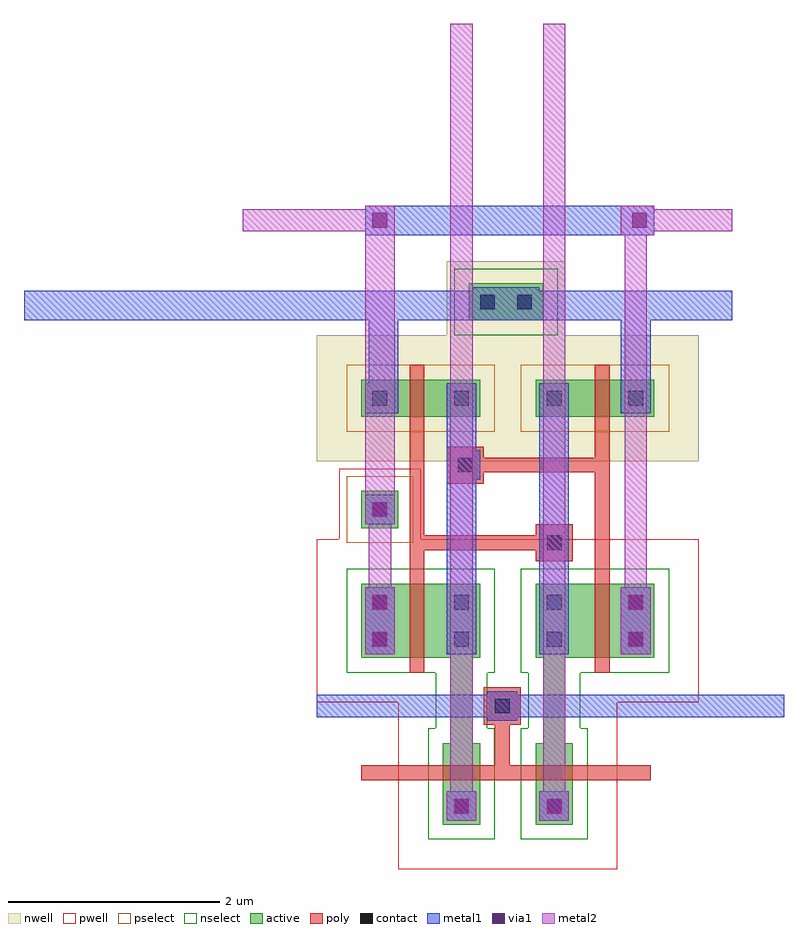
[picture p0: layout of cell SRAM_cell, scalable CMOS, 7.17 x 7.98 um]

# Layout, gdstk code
import gdstk
lib = gdstk.Library(unit=1e-6, precision=1e-09)
def R(c, l, rs):  # rectangles x0, y0, x1, y1
    for r in rs: c.add(gdstk.rectangle(r[:2], r[2:], *l))
contact = (25, 0)
pwell = (41, 0)
nwell = (42, 0)
active = (43, 0)
pselect = (44, 0)
nselect = (45, 0)
poly = (46, 0)
metal1 = (49, 0)
via1 = (50, 0)
metal2 = (51, 0)

sram_cell = lib.new_cell('SRAM_cell')
R(sram_cell, contact, [(10.465,-2.205,10.605,-2.065), (11.34,-2.205,11.48,-2.065), (10.85,-1.26,10.99,-1.12), (9.695,-0.63,9.835,-0.49), (10.465,-0.63,10.605,-0.49), (11.34,-0.63,11.48,-0.49), (12.11,-0.63,12.25,-0.49), (9.695,-0.28,9.835,-0.14), (10.465,-0.28,10.605,-0.14), (11.34,-0.28,11.48,-0.14), (12.11,-0.28,12.25,-0.14), (11.34,0.28,11.48,0.42), (9.695,0.595,9.835,0.735), (10.5,1.015,10.64,1.155), (9.695,1.645,9.835,1.785), (10.465,1.645,10.605,1.785), (11.34,1.645,11.48,1.785), (12.11,1.645,12.25,1.785), (10.71,2.555,10.85,2.695), (11.06,2.555,11.2,2.695)])
R(sram_cell, pwell, [(9.94,-2.73,11.13,-1.54), (10.815,-2.73,12.005,-1.54), (9.975,-2.66,11.025,-1.557), (10.885,-2.66,11.935,-1.557), (9.94,-2.52,11.13,-1.12), (10.815,-2.52,12.005,-1.12), (10.01,-2.082,11.06,0.14), (10.885,-2.082,11.935,0.14), (9.17,-1.155,10.36,0.385), (9.415,-1.155,10.815,0.385), (9.94,-1.155,11.13,0.385), (10.815,-1.155,12.005,0.385), (11.165,-1.155,12.565,0.385), (11.585,-1.155,12.775,0.385), (9.24,-0.91,10.378,0.14), (9.853,-0.91,11.025,0.14), (10.885,-0.91,12.128,0.14), (11.603,-0.91,12.705,0.14), (9.38,0.28,10.15,1.05)])
R(sram_cell, nwell, [(9.17,1.12,10.36,2.31), (9.415,1.12,10.815,2.31), (9.94,1.12,11.13,2.31), (10.815,1.12,12.005,2.31), (11.165,1.12,12.565,2.31), (11.585,1.12,12.775,2.31), (9.24,1.19,10.378,2.24), (10.885,1.19,12.128,2.24), (11.603,1.19,12.74,2.24), (9.853,1.225,11.025,2.275), (10.395,2.24,11.515,3.01)])
R(sram_cell, active, [(10.36,-2.31,10.71,-1.96), (11.235,-2.31,11.585,-1.96), (10.395,-2.24,10.605,-1.977), (11.305,-2.24,11.515,-1.977), (10.36,-2.1,10.71,-1.54), (11.235,-2.1,11.585,-1.54), (10.43,-1.662,10.64,-0.28), (11.305,-1.662,11.515,-0.28), (9.59,-0.735,9.94,-0.035), (9.835,-0.735,10.395,-0.035), (10.36,-0.735,10.71,-0.035), (11.235,-0.735,11.585,-0.035), (11.585,-0.735,12.145,-0.035), (12.005,-0.735,12.355,-0.035), (9.66,-0.49,9.958,-0.28), (10.273,-0.49,10.605,-0.28), (11.305,-0.49,11.708,-0.28), (12.023,-0.49,12.285,-0.28), (9.59,0.49,9.94,0.84), (9.59,1.54,9.94,1.89), (9.835,1.54,10.395,1.89), (10.36,1.54,10.71,1.89), (11.235,1.54,11.585,1.89), (11.585,1.54,12.145,1.89), (12.005,1.54,12.355,1.89), (9.66,1.61,9.958,1.82), (11.305,1.61,11.708,1.82), (12.023,1.61,12.32,1.82), (10.273,1.645,10.605,1.855), (10.605,2.45,11.305,2.8)])
R(sram_cell, pselect, [(9.45,0.35,10.08,0.98), (9.45,1.4,10.08,2.03), (9.695,1.4,10.535,2.03), (10.22,1.4,10.85,2.03), (11.095,1.4,11.725,2.03), (11.445,1.4,12.285,2.03), (11.865,1.4,12.495,2.03), (9.52,1.47,10.098,1.96), (11.165,1.47,11.848,1.96), (11.883,1.47,12.46,1.96), (10.133,1.505,10.745,1.995)])
R(sram_cell, nselect, [(10.22,-2.45,10.85,-1.82), (11.095,-2.45,11.725,-1.82), (10.255,-2.38,10.745,-1.837), (11.165,-2.38,11.655,-1.837), (10.22,-2.24,10.85,-1.4), (11.095,-2.24,11.725,-1.4), (10.29,-1.802,10.78,-0.14), (11.165,-1.802,11.655,-0.14), (9.45,-0.875,10.08,0.105), (9.695,-0.875,10.535,0.105), (10.22,-0.875,10.85,0.105), (11.095,-0.875,11.725,0.105), (11.445,-0.875,12.285,0.105), (11.865,-0.875,12.495,0.105), (9.52,-0.63,10.098,-0.14), (10.133,-0.63,10.745,-0.14), (11.165,-0.63,11.848,-0.14), (11.883,-0.63,12.425,-0.14), (10.465,2.31,11.445,2.94)])
R(sram_cell, poly, [(9.59,-1.89,10.29,-1.75), (10.22,-1.89,10.85,-1.75), (10.78,-1.89,10.99,-1.75), (10.85,-1.89,11.165,-1.75), (10.85,-1.89,10.99,-1.12), (11.095,-1.89,11.725,-1.75), (11.655,-1.89,12.32,-1.75), (10.745,-1.365,11.095,-1.015), (10.045,-0.875,10.185,0.105), (11.795,-0.875,11.935,0.105), (10.045,0.035,10.185,0.42), (10.045,0.035,10.185,1.47), (11.795,0.035,11.935,1.47), (11.795,0.035,11.935,1.155), (11.235,0.175,11.585,0.525), (10.045,0.28,11.48,0.42), (10.395,0.91,10.745,1.26), (10.465,1.015,11.935,1.155), (10.045,1.4,10.185,2.03), (11.795,1.4,11.935,2.03)])
R(sram_cell, metal1, [(10.395,-2.275,10.675,-1.995), (10.395,-2.275,10.675,-1.995), (11.27,-2.275,11.55,-1.995), (11.27,-2.275,11.55,-1.995), (10.43,-2.24,10.64,-2.03), (11.305,-2.24,11.515,-2.03), (10.78,-1.33,11.06,-1.05), (9.17,-1.295,11.025,-1.085), (10.815,-1.295,13.09,-1.085), (12.88,-1.295,13.58,-1.085), (9.625,-0.7,9.905,-0.07), (9.625,-0.7,9.905,-0.07), (10.395,-0.7,10.675,-0.07), (11.27,-0.7,11.55,-0.07), (12.04,-0.7,12.32,-0.07), (12.04,-0.7,12.32,-0.07), (10.395,-0.525,10.675,1.225), (11.27,-0.525,11.55,0.49), (11.27,0.21,11.55,0.49), (11.27,0.21,11.55,1.855), (9.625,0.525,9.905,0.805), (9.625,0.525,9.905,0.805), (9.66,0.56,9.87,0.77), (10.395,0.945,10.675,1.855), (10.43,0.945,10.71,1.225), (9.625,1.575,9.905,1.855), (9.66,1.575,9.94,2.73), (10.395,1.575,10.675,1.855), (11.27,1.575,11.55,1.855), (12.04,1.575,12.32,1.855), (12.04,1.575,12.32,2.73), (6.405,2.45,9.52,2.73), (9.24,2.45,9.94,2.73), (9.66,2.45,11.13,2.73), (10.85,2.45,12.32,2.73), (12.04,2.45,13.09,2.73), (10.64,2.485,11.27,2.765), (9.625,3.255,9.905,3.535), (9.625,3.255,9.905,3.535), (9.625,3.255,9.94,3.535), (9.66,3.255,12.355,3.535), (12.075,3.255,12.355,3.535)])
R(sram_cell, via1, [(10.465,-2.205,10.605,-2.065), (11.34,-2.205,11.48,-2.065), (9.695,-0.63,9.835,-0.49), (12.11,-0.63,12.25,-0.49), (9.695,-0.28,9.835,-0.14), (12.11,-0.28,12.25,-0.14), (9.695,0.595,9.835,0.735), (9.695,3.325,9.835,3.465), (9.695,3.325,9.835,3.465), (12.145,3.325,12.285,3.465)])
R(sram_cell, metal2, [(10.395,-2.275,10.675,-1.995), (11.27,-2.275,11.55,-1.995), (10.43,-2.24,10.64,-1.505), (11.305,-2.24,11.515,-1.155), (10.43,-1.715,10.64,-1.505), (10.43,-1.68,10.64,5.25), (11.305,-1.365,11.515,-1.155), (11.305,-1.33,11.515,5.25), (9.625,-0.7,9.905,-0.07), (12.04,-0.7,12.32,-0.07), (9.66,-0.49,9.87,0.315), (12.075,-0.49,12.285,0.49), (9.66,0.105,9.87,0.315), (9.66,0.105,9.87,0.77), (12.075,0.28,12.285,0.49), (12.075,0.28,12.285,1.33), (9.625,0.525,9.905,0.805), (9.625,0.525,9.905,1.505), (12.075,1.12,12.285,1.33), (12.075,1.155,12.285,3.5), (9.625,1.225,9.905,3.535), (9.625,3.255,9.905,3.535), (9.625,3.255,9.905,3.535), (12.04,3.255,12.355,3.535), (12.075,3.255,12.355,3.535), (8.47,3.29,9.485,3.5), (9.205,3.29,9.415,3.5), (9.205,3.29,9.87,3.5), (12.075,3.29,13.09,3.5), (12.88,3.29,13.09,3.5)])

lib.write_gds('SRAM_cell.gds')
